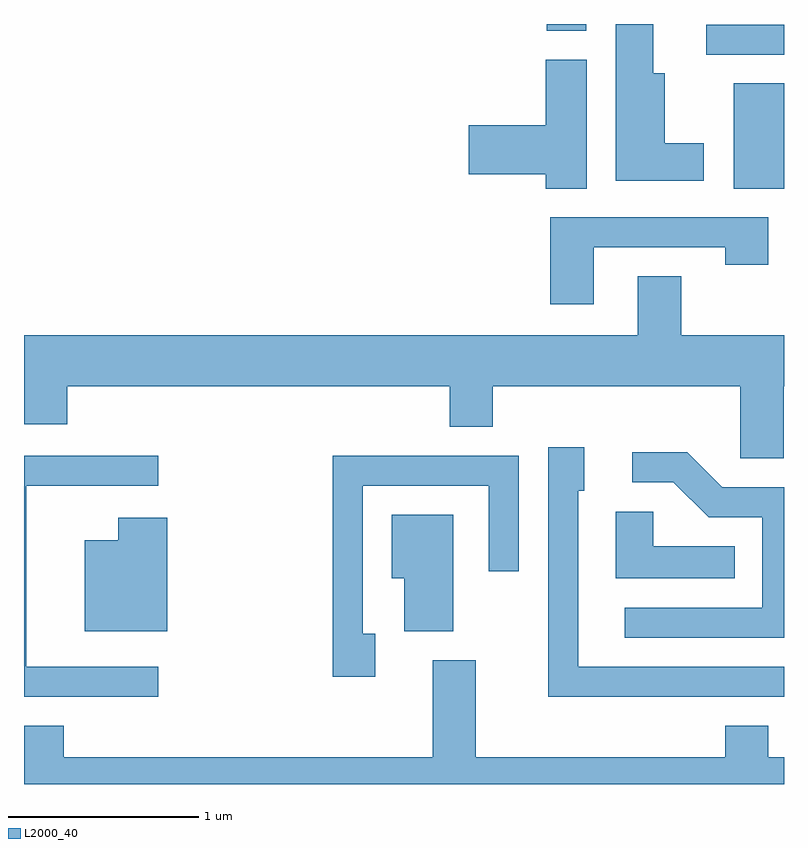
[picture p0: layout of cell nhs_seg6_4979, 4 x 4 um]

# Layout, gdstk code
import gdstk
lib = gdstk.Library(unit=1e-6, precision=1e-09)
def R(c, l, rs):  # rectangles x0, y0, x1, y1
    for r in rs: c.add(gdstk.rectangle(r[:2], r[2:], *l))
def P(c, l, *ps):  # polygons
    for p in ps: c.add(gdstk.Polygon(p, *l))
L2000_40 = (2000, 40)

nhs_seg6_4979 = lib.new_cell('nhs_seg6_4979')
R(nhs_seg6_4979, L2000_40, [(341.346,1553.296,341.611,1553.849), (341.203,1554.001,341.611,1554.159), (340.361,1554.126,340.569,1554.162)])
P(nhs_seg6_4979, L2000_40, [(341.189,1553.534),(340.984,1553.534),(340.984,1553.904),(340.924,1553.904),(340.924,1554.162),(340.726,1554.162),(340.726,1553.336),(341.189,1553.336)],
  [(340.574,1553.974),(340.356,1553.974),(340.356,1553.629),(339.951,1553.629),(339.951,1553.371),(340.356,1553.371),(340.356,1553.296),(340.574,1553.296)],
  [(340.609,1552.986),(341.301,1552.986),(341.301,1552.896),(341.529,1552.896),(341.529,1553.144),(340.381,1553.144),(340.381,1552.686),(340.609,1552.686)],
  [(341.609,1552.256),(341.611,1552.256),(341.611,1552.524),(341.069,1552.524),(341.069,1552.834),(340.841,1552.834),(340.841,1552.524),(337.611,1552.524),(337.611,1552.056),(337.839,1552.056),(337.839,1552.256),(339.851,1552.256),(339.851,1552.041),(340.079,1552.041),(340.079,1552.256),(341.381,1552.256),(341.381,1551.876),(341.609,1551.876)],
  [(341.611,1550.779),(340.529,1550.779),(340.529,1551.706),(340.559,1551.706),(340.559,1551.934),(340.371,1551.934),(340.371,1550.621),(341.611,1550.621)],
  [(341.611,1551.724),(341.287,1551.724),(341.102,1551.909),(340.813,1551.909),(340.813,1551.751),(341.029,1551.751),(341.214,1551.566),(341.496,1551.566),(341.496,1551.089),(340.773,1551.089),(340.773,1550.931),(341.611,1550.931)],
  [(338.318,1550.779),(337.624,1550.779),(337.624,1551.731),(338.318,1551.731),(338.318,1551.889),(337.611,1551.889),(337.611,1550.621),(338.318,1550.621)],
  [(339.459,1550.954),(339.394,1550.954),(339.394,1551.731),(340.056,1551.731),(340.056,1551.283),(340.214,1551.283),(340.214,1551.889),(339.236,1551.889),(339.236,1550.726),(339.459,1550.726)],
  [(341.353,1551.414),(340.924,1551.414),(340.924,1551.594),(340.726,1551.594),(340.726,1551.246),(341.353,1551.246)],
  [(339.869,1551.579),(339.546,1551.579),(339.546,1551.246),(339.611,1551.246),(339.611,1550.966),(339.869,1550.966)],
  [(338.364,1551.564),(338.106,1551.564),(338.106,1551.444),(337.931,1551.444),(337.931,1550.966),(338.364,1550.966)],
  [(341.611,1550.304),(341.529,1550.304),(341.529,1550.469),(341.301,1550.469),(341.301,1550.304),(339.989,1550.304),(339.989,1550.814),(339.761,1550.814),(339.761,1550.304),(337.819,1550.304),(337.819,1550.469),(337.611,1550.469),(337.611,1550.162),(341.611,1550.162)])

lib.write_gds('nhs_seg6_4979.gds')
